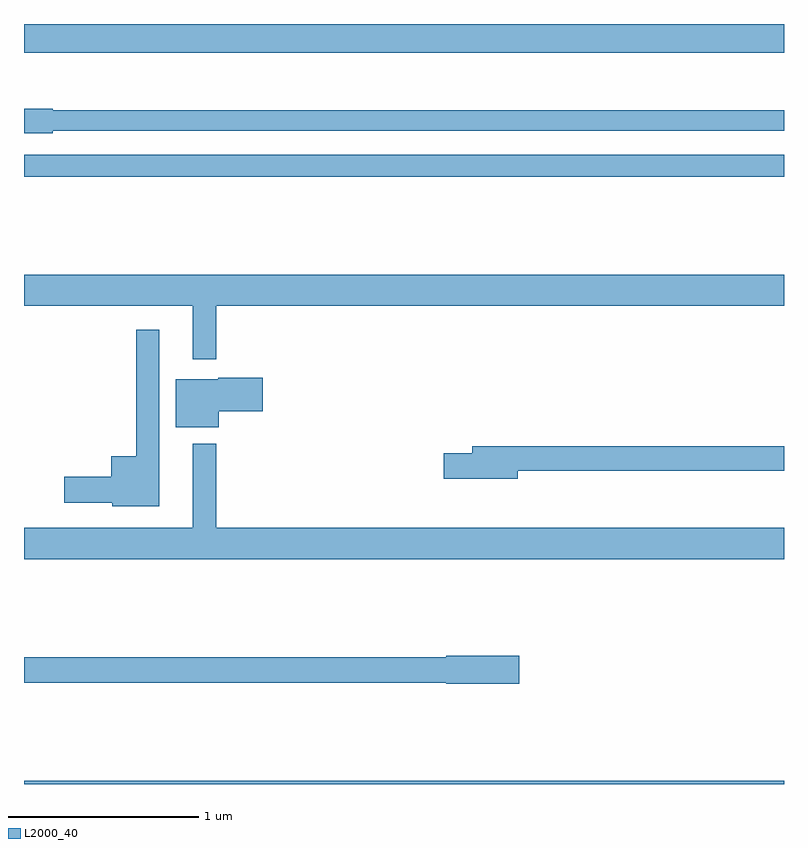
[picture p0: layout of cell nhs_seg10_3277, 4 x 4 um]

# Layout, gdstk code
import gdstk
lib = gdstk.Library(unit=1e-6, precision=1e-09)
def R(c, l, rs):  # rectangles x0, y0, x1, y1
    for r in rs: c.add(gdstk.rectangle(r[:2], r[2:], *l))
def P(c, l, *ps):  # polygons
    for p in ps: c.add(gdstk.Polygon(p, *l))
L2000_40 = (2000, 40)

nhs_seg10_3277 = lib.new_cell('nhs_seg10_3277')
R(nhs_seg10_3277, L2000_40, [(289,1264.5,293,1264.516), (289,1267.696,293,1267.812), (289,1268.348,293,1268.5)])
P(nhs_seg10_3277, L2000_40, [(289.152,1267.938),(293,1267.938),(293,1268.047),(289.152,1268.047),(289.152,1268.055),(289,1268.055),(289,1267.925),(289.152,1267.925)],
  [(290.011,1267.016),(293,1267.016),(293,1267.18),(289,1267.18),(289,1267.016),(289.889,1267.016),(289.889,1266.735),(290.011,1266.735)],
  [(289.711,1266.892),(289.59,1266.892),(289.59,1266.226),(289.46,1266.226),(289.46,1266.116),(289.212,1266.116),(289.212,1265.981),(289.464,1265.981),(289.464,1265.963),(289.711,1265.963)],
  [(290.026,1266.461),(290.257,1266.461),(290.257,1266.639),(290.022,1266.639),(290.022,1266.631),(289.799,1266.631),(289.799,1266.377),(290.026,1266.377)],
  [(293,1265.848),(290.011,1265.848),(290.011,1266.292),(289.889,1266.292),(289.889,1265.848),(289,1265.848),(289,1265.684),(293,1265.684)],
  [(291.598,1266.15),(293,1266.15),(293,1266.278),(291.359,1266.278),(291.359,1266.242),(291.21,1266.242),(291.21,1266.107),(291.598,1266.107)],
  [(291.607,1265.174),(291.222,1265.174),(291.222,1265.168),(289,1265.168),(289,1265.032),(291.222,1265.032),(291.222,1265.027),(291.607,1265.027)])

lib.write_gds('nhs_seg10_3277.gds')
